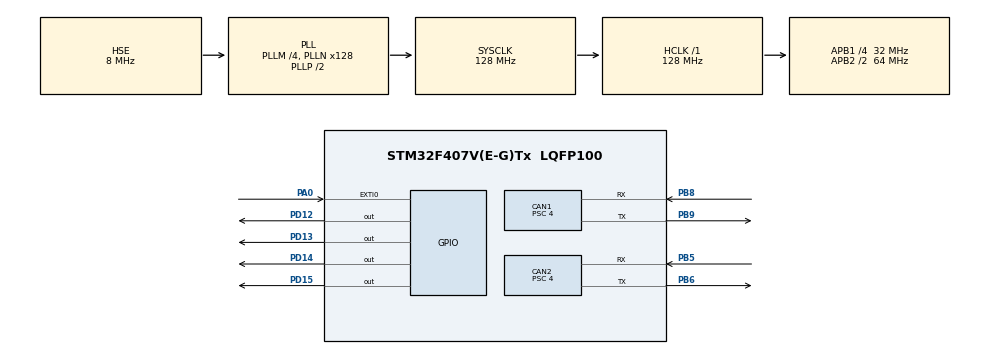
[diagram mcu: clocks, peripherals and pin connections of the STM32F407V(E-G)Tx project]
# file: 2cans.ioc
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Mcu.Family=STM32F4
RCC.PLLSourceVirtual=RCC_PLLSOURCE_HSE
PH0-OSC_IN.Signal=RCC_OSC_IN
RCC.CortexFreq_Value=128000000
NVIC.CAN2_RX0_IRQn=true\:0\:0\:false\:false\:true\:true\:true
CAN2.SJW=CAN_SJW_1TQ
RCC.APB1CLKDivider=RCC_HCLK_DIV4
RCC.SYSCLKSource=RCC_SYSCLKSOURCE_PLLCLK
ProjectManager.StackSize=0x400
PA0-WKUP.Signal=GPXTI0
PD13.Signal=GPIO_Output
CAN1.BS2=CAN_BS2_1TQ
CAN1.BS1=CAN_BS1_14TQ
ProjectManager.TargetToolchain=STM32CubeIDE
RCC.HCLKFreq_Value=128000000
PB9.Mode=Master
RCC.APB2TimFreq_Value=128000000
PB6.Signal=CAN2_TX
PB6.Mode=Slave
RCC.LSE_VALUE=32768
RCC.AHBFreq_Value=128000000
PH0-OSC_IN.Mode=HSE-External-Oscillator
RCC.HSE_VALUE=8000000
board=STM32F407G-DISC1
RCC.VCOOutputFreq_Value=256000000
RCC.APB2Freq_Value=64000000
VP_TIM2_VS_ClockSourceINT.Mode=Internal
CAN1.Mode=CAN_MODE_NORMAL
CAN2.Prescaler=4
PB5.Mode=Slave
NVIC.TIM2_IRQn=true\:0\:0\:false\:false\:true\:true\:true
CAN2.CalculateTimeQuantum=125.0
PH1-OSC_OUT.Signal=RCC_OSC_OUT
TIM2.Period=127
Mcu.Name=STM32F407V(E-G)Tx
PD14.Signal=GPIO_Output
PH1-OSC_OUT.Mode=HSE-External-Oscillator
RCC.48MHZClocksFreq_Value=36571428.571428575
NVIC.EXTI0_IRQn=true\:0\:0\:false\:false\:true\:true\:true
RCC.SYSCLKFreq_VALUE=128000000
CAN1.Prescaler=4
Mcu.Package=LQFP100
PB5.Signal=CAN2_RX
PB9.Signal=CAN1_TX
TIM2.Prescaler=999
CAN2.BS1=CAN_BS1_14TQ
CAN2.BS2=CAN_BS2_1TQ
PD12.Signal=GPIO_Output
ProjectManager.HeapSize=0x200
RCC.HSI_VALUE=16000000
RCC.PLLQ=7
NVIC.PriorityGroup=NVIC_PRIORITYGROUP_0
RCC.APB2CLKDivider=RCC_HCLK_DIV2
RCC.PLLM=4
PB8.Mode=Master
RCC.PLLN=128
RCC.APB1TimFreq_Value=64000000
PB8.Signal=CAN1_RX
TIM2.AutoReloadPreload=TIM_AUTORELOAD_PRELOAD_ENABLE
RCC.APB1Freq_Value=32000000
PD15.Signal=GPIO_Output
NVIC.CAN1_RX0_IRQn=true\:0\:0\:false\:false\:true\:true\:true
CAN1.CalculateTimeQuantum=125.0

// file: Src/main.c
/* USER CODE BEGIN Header */
/**
  ******************************************************************************
  * @file           : main.c
  * @brief          : Main program body
  ******************************************************************************
  * @attention
  *
  * <h2><center>&copy; Copyright (c) 2020 STMicroelectronics.
  * All rights reserved.</center></h2>
  *
  * This software component is licensed by ST under BSD 3-Clause license,
  * the "License"; You may not use this file except in compliance with the
  * License. You may obtain a copy of the License at:
  *                        opensource.org/licenses/BSD-3-Clause
  *
  ******************************************************************************
  */
/* USER CODE END Header */
#include "main.h"

CAN_HandleTypeDef hcan1;
CAN_HandleTypeDef hcan2;

TIM_HandleTypeDef htim2;

/* USER CODE BEGIN PV */
CAN_FilterTypeDef sFilterConfig;
CAN_FilterTypeDef sFilterConfig2;

CAN_RxHeaderTypeDef RxHeader_CAN1;
CAN_RxHeaderTypeDef RxHeader_CAN2;

uint8_t RxData_CAN1[8];
uint8_t RxData_CAN2[8];

uint32_t TxMailbox1;
uint32_t TxMailbox2;

uint16_t inverter_RPM;
uint16_t inverter_RMS;
uint16_t inverter_status;
uint8_t inverter_temp_IGBT;
uint8_t inverter_temp_engine;

uint16_t engine_mode;
typedef void (*request_list_type)(CAN_TxHeaderTypeDef*, uint8_t**);

uint64_t tim2_counter = 0;
uint64_t apps_timeout_counter = 0;
uint64_t engine_timeout_counter = 0;

/* USER CODE END PV */

void SystemClock_Config(void);
static void MX_GPIO_Init(void);
static void MX_CAN1_Init(void);
static void MX_CAN2_Init(void);
static void MX_TIM2_Init(void);
/* USER CODE BEGIN PFP */
static void CAN_requests_Init(void);
/* USER CODE END PFP */

int main(void)
{

  /* MCU Configuration--------------------------------------------------------*/

  /* Reset of all peripherals, Initializes the Flash interface and the Systick. */
  HAL_Init();

  /* Configure the system clock */
  SystemClock_Config();

  /* Initialize all configured peripherals */
  MX_GPIO_Init();
  MX_CAN1_Init();
  MX_CAN2_Init();
  MX_TIM2_Init();
  /* USER CODE BEGIN 2 */

  engine_mode = 100;

  sFilterConfig.FilterBank = 0;
  sFilterConfig.FilterMode = CAN_FILTERMODE_IDMASK;
  sFilterConfig.FilterScale = CAN_FILTERSCALE_32BIT;
  sFilterConfig.FilterIdHigh = 0x0000;
  sFilterConfig.FilterIdLow = 0x0000;
  sFilterConfig.FilterMaskIdHigh = 0x0000;
  sFilterConfig.FilterMaskIdLow = 0x0000;
  sFilterConfig.FilterFIFOAssignment = CAN_RX_FIFO0;
  sFilterConfig.FilterActivation = ENABLE;
  sFilterConfig.SlaveStartFilterBank = 14;

  sFilterConfig2.FilterBank = 15;
  sFilterConfig2.FilterMode = CAN_FILTERMODE_IDMASK;
  sFilterConfig2.FilterScale = CAN_FILTERSCALE_32BIT;
  sFilterConfig2.FilterIdHigh = 0x0000;
  sFilterConfig2.FilterIdLow = 0x0000;
  sFilterConfig2.FilterMaskIdHigh = 0x0;
  sFilterConfig2.FilterMaskIdLow = 0x0;
  sFilterConfig2.FilterFIFOAssignment = CAN_RX_FIFO0;
  sFilterConfig2.FilterActivation = ENABLE;
  sFilterConfig2.SlaveStartFilterBank = 14;

  if (HAL_CAN_ConfigFilter(&hcan1, &sFilterConfig) != HAL_OK)
  {
  /* Filter configuration Error */
	  Error_Handler();
  }

  if (HAL_CAN_ConfigFilter(&hcan2, &sFilterConfig2) != HAL_OK)
  {
    /* Filter configuration Error */
	  Error_Handler();
  }

  if (HAL_CAN_Start(&hcan1) != HAL_OK)
  {
  /* Start Error */
	  Error_Handler();
  }

  if (HAL_CAN_Start(&hcan2) != HAL_OK)
  {
    /* Start Error */
	  Error_Handler();
  }

  if (HAL_CAN_ActivateNotification(&hcan1, CAN_IT_RX_FIFO0_MSG_PENDING | CAN_IT_TX_MAILBOX_EMPTY) != HAL_OK)
  {
  /* Notification Error */
	  Error_Handler();
  }

  if (HAL_CAN_ActivateNotification(&hcan2, CAN_IT_RX_FIFO0_MSG_PENDING | CAN_IT_TX_MAILBOX_EMPTY) != HAL_OK)
  {
    /* Notification Error */
	  Error_Handler();
  }

  CAN_requests_Init();
  HAL_TIM_Base_Start_IT(&htim2);

//speeeed
//  for(uint16_t i = 1; i <= 61 ; i+=3 ){
//	  CAN_TxHeaderTypeDef TxHeader;
//	  uint8_t* TxData = NULL;
//
//	  CAN_set_speed_command(&TxHeader, &TxData, i);
//
//
//	  if (HAL_CAN_AddTxMessage(&hcan2, &TxHeader, TxData, &TxMailbox2) != HAL_OK)
//	  {
//		  Error_Handler();
//	  }
//
//	  while(HAL_CAN_IsTxMessagePending(&hcan2, TxMailbox2));
//  	  HAL_Delay(2000);
//  	  free(TxData);
//    }

  /* USER CODE END 2 */

  /* Infinite loop */
  while (1)
  {

  }
}

void SystemClock_Config(void)
{
  RCC_OscInitTypeDef RCC_OscInitStruct = {0};
  RCC_ClkInitTypeDef RCC_ClkInitStruct = {0};

  /** Configure the main internal regulator output voltage
  */
  __HAL_RCC_PWR_CLK_ENABLE();
  __HAL_PWR_VOLTAGESCALING_CONFIG(PWR_REGULATOR_VOLTAGE_SCALE1);
  /** Initializes the RCC Oscillators according to the specified parameters
  * in the RCC_OscInitTypeDef structure.
  */
  RCC_OscInitStruct.OscillatorType = RCC_OSCILLATORTYPE_HSE;
  RCC_OscInitStruct.HSEState = RCC_HSE_ON;
  RCC_OscInitStruct.PLL.PLLState = RCC_PLL_ON;
  RCC_OscInitStruct.PLL.PLLSource = RCC_PLLSOURCE_HSE;
  RCC_OscInitStruct.PLL.PLLM = 4;
  RCC_OscInitStruct.PLL.PLLN = 128;
  RCC_OscInitStruct.PLL.PLLP = RCC_PLLP_DIV2;
  RCC_OscInitStruct.PLL.PLLQ = 7;
  if (HAL_RCC_OscConfig(&RCC_OscInitStruct) != HAL_OK)
  {
    Error_Handler();
  }
  /** Initializes the CPU, AHB and APB buses clocks
  */
  RCC_ClkInitStruct.ClockType = RCC_CLOCKTYPE_HCLK|RCC_CLOCKTYPE_SYSCLK
                              |RCC_CLOCKTYPE_PCLK1|RCC_CLOCKTYPE_PCLK2;
  RCC_ClkInitStruct.SYSCLKSource = RCC_SYSCLKSOURCE_PLLCLK;
  RCC_ClkInitStruct.AHBCLKDivider = RCC_SYSCLK_DIV1;
  RCC_ClkInitStruct.APB1CLKDivider = RCC_HCLK_DIV4;
  RCC_ClkInitStruct.APB2CLKDivider = RCC_HCLK_DIV2;

  if (HAL_RCC_ClockConfig(&RCC_ClkInitStruct, FLASH_LATENCY_4) != HAL_OK)
  {
    Error_Handler();
  }
}

static void MX_CAN1_Init(void)
{

  hcan1.Instance = CAN1;
  hcan1.Init.Prescaler = 4;
  hcan1.Init.Mode = CAN_MODE_NORMAL;
  hcan1.Init.SyncJumpWidth = CAN_SJW_1TQ;
  hcan1.Init.TimeSeg1 = CAN_BS1_14TQ;
  hcan1.Init.TimeSeg2 = CAN_BS2_1TQ;
  hcan1.Init.TimeTriggeredMode = DISABLE;
  hcan1.Init.AutoBusOff = DISABLE;
  hcan1.Init.AutoWakeUp = DISABLE;
  hcan1.Init.AutoRetransmission = DISABLE;
  hcan1.Init.ReceiveFifoLocked = DISABLE;
  hcan1.Init.TransmitFifoPriority = DISABLE;
  if (HAL_CAN_Init(&hcan1) != HAL_OK)
  {
    Error_Handler();
  }

}

static void MX_CAN2_Init(void)
{

  hcan2.Instance = CAN2;
  hcan2.Init.Prescaler = 4;
  hcan2.Init.Mode = CAN_MODE_NORMAL;
  hcan2.Init.SyncJumpWidth = CAN_SJW_1TQ;
  hcan2.Init.TimeSeg1 = CAN_BS1_14TQ;
  hcan2.Init.TimeSeg2 = CAN_BS2_1TQ;
  hcan2.Init.TimeTriggeredMode = DISABLE;
  hcan2.Init.AutoBusOff = DISABLE;
  hcan2.Init.AutoWakeUp = DISABLE;
  hcan2.Init.AutoRetransmission = DISABLE;
  hcan2.Init.ReceiveFifoLocked = DISABLE;
  hcan2.Init.TransmitFifoPriority = DISABLE;
  if (HAL_CAN_Init(&hcan2) != HAL_OK)
  {
    Error_Handler();
  }

}

static void MX_TIM2_Init(void)
{

  TIM_ClockConfigTypeDef sClockSourceConfig = {0};
  TIM_MasterConfigTypeDef sMasterConfig = {0};

  htim2.Instance = TIM2;
  htim2.Init.Prescaler = 999;
  htim2.Init.CounterMode = TIM_COUNTERMODE_UP;
  htim2.Init.Period = 127;
  htim2.Init.ClockDivision = TIM_CLOCKDIVISION_DIV1;
  htim2.Init.AutoReloadPreload = TIM_AUTORELOAD_PRELOAD_ENABLE;
  if (HAL_TIM_Base_Init(&htim2) != HAL_OK)
  {
    Error_Handler();
  }
  sClockSourceConfig.ClockSource = TIM_CLOCKSOURCE_INTERNAL;
  if (HAL_TIM_ConfigClockSource(&htim2, &sClockSourceConfig) != HAL_OK)
  {
    Error_Handler();
  }
  sMasterConfig.MasterOutputTrigger = TIM_TRGO_RESET;
  sMasterConfig.MasterSlaveMode = TIM_MASTERSLAVEMODE_DISABLE;
  if (HAL_TIMEx_MasterConfigSynchronization(&htim2, &sMasterConfig) != HAL_OK)
  {
    Error_Handler();
  }

}

static void MX_GPIO_Init(void)
{
  GPIO_InitTypeDef GPIO_InitStruct = {0};

  /* GPIO Ports Clock Enable */
  __HAL_RCC_GPIOH_CLK_ENABLE();
  __HAL_RCC_GPIOA_CLK_ENABLE();
  __HAL_RCC_GPIOD_CLK_ENABLE();
  __HAL_RCC_GPIOB_CLK_ENABLE();

  /*Configure GPIO pin Output Level */
  HAL_GPIO_WritePin(GPIOD, GPIO_PIN_12|GPIO_PIN_13|GPIO_PIN_14|GPIO_PIN_15, GPIO_PIN_RESET);

  /*Configure GPIO pin : PA0 */
  GPIO_InitStruct.Pin = GPIO_PIN_0;
  GPIO_InitStruct.Mode = GPIO_MODE_IT_RISING;
  GPIO_InitStruct.Pull = GPIO_NOPULL;
  HAL_GPIO_Init(GPIOA, &GPIO_InitStruct);

  /*Configure GPIO pins : PD12 PD13 PD14 PD15 */
  GPIO_InitStruct.Pin = GPIO_PIN_12|GPIO_PIN_13|GPIO_PIN_14|GPIO_PIN_15;
  GPIO_InitStruct.Mode = GPIO_MODE_OUTPUT_PP;
  GPIO_InitStruct.Pull = GPIO_NOPULL;
  GPIO_InitStruct.Speed = GPIO_SPEED_FREQ_LOW;
  HAL_GPIO_Init(GPIOD, &GPIO_InitStruct);

  /* EXTI interrupt init*/
  HAL_NVIC_SetPriority(EXTI0_IRQn, 0, 0);
  HAL_NVIC_EnableIRQ(EXTI0_IRQn);

}

/* USER CODE BEGIN 4 */
static void CAN_requests_Init(void){
	request_list_type requests[5] = {
			&CAN_request_speed_command,
			&CAN_request_power_command,
			&CAN_request_igbt_temp_command,
			&CAN_request_motor_temp_command,
			&CAN_request_air_temp_command
	};

	for (int i = 0; i < 5; ++i){
		CAN_TxHeaderTypeDef TxHeader;
	    uint8_t* TxData = NULL;

	    requests[i](&TxHeader, &TxData);

	    if (HAL_CAN_AddTxMessage(&hcan2, &TxHeader, TxData, &TxMailbox2) != HAL_OK)
	    {
		  Error_Handler();
	    }

	    while(HAL_CAN_IsTxMessagePending(&hcan2, TxMailbox2));
	    free(TxData);
	}

}

/* USER CODE END 4 */

void Error_Handler(void)
{
  /* USER CODE BEGIN Error_Handler_Debug */
  /* User can add his own implementation to report the HAL error return state */
	HAL_GPIO_WritePin(GPIOD, GPIO_PIN_14, GPIO_PIN_SET);
  /* USER CODE END Error_Handler_Debug */
}

/************************ (C) COPYRIGHT STMicroelectronics *****END OF FILE****/
